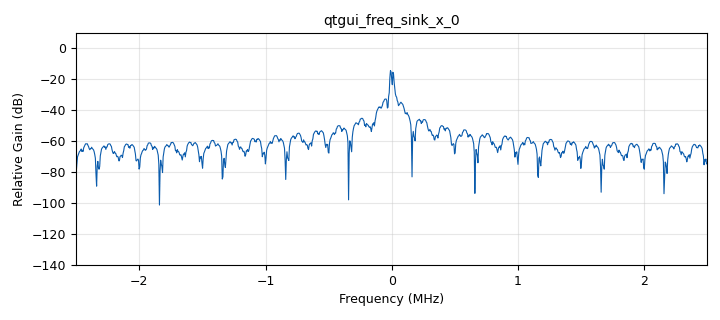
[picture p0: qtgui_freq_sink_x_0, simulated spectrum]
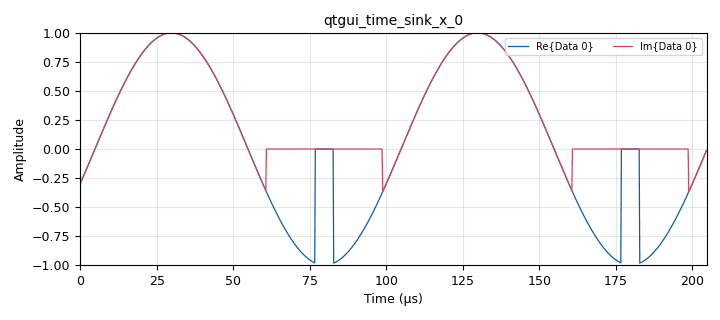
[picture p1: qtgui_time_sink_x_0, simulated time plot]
<?xml version='1.0' encoding='utf-8'?>
<?grc format='1' created='3.7.11'?>
<flow_graph>
<block>
<key>options</key>
<param><key>id</key><value>tx_digital_signal</value></param>
<param><key>generate_options</key><value>qt_gui</value></param>
</block>
<block>
<key>variable</key>
<param><key>id</key><value>baseband_freq</value></param>
<param><key>value</key><value>10000</value></param>
</block>
<block>
<key>variable</key>
<param><key>id</key><value>carrier_frequency</value></param>
<param><key>value</key><value>433e6</value></param>
</block>
<block>
<key>variable</key>
<param><key>id</key><value>channel_bw</value></param>
<param><key>value</key><value>2e3</value></param>
</block>
<block>
<key>variable</key>
<param><key>id</key><value>oldpacket</value></param>
<param><key>value</key><value>'11110011111110000111'</value></param>
</block>
<block>
<key>variable</key>
<param><key>id</key><value>oldrepeat</value></param>
<param><key>value</key><value>25</value></param>
</block>
<block>
<key>variable</key>
<param><key>id</key><value>packet_i</value></param>
<param><key>value</key><value>'11111111111111111111111111111111111100011111111111'</value></param>
</block>
<block>
<key>variable</key>
<param><key>id</key><value>packet_q</value></param>
<param><key>value</key><value>'11111111111111111111111111110000000000000000000111'</value></param>
</block>
<block>
<key>variable</key>
<param><key>id</key><value>repeat</value></param>
<param><key>value</key><value>10</value></param>
</block>
<block>
<key>variable</key>
<param><key>id</key><value>samp_rate</value></param>
<param><key>value</key><value>5e6</value></param>
</block>
<block>
<key>analog_sig_source_x</key>
<param><key>id</key><value>analog_sig_source_x_0</value></param>
<param><key>amp</key><value>1</value></param>
<param><key>freq</key><value>baseband_freq</value></param>
<param><key>offset</key><value>0</value></param>
<param><key>type</key><value>float</value></param>
<param><key>samp_rate</key><value>samp_rate</value></param>
<param><key>waveform</key><value>analog.GR_SIN_WAVE</value></param>
</block>
<block>
<key>blocks_complex_to_float</key>
<param><key>id</key><value>blocks_complex_to_float_0</value></param>
</block>
<block>
<key>blocks_float_to_complex</key>
<param><key>id</key><value>blocks_float_to_complex_0</value></param>
</block>
<block>
<key>blocks_multiply_const_xx</key>
<param><key>id</key><value>blocks_multiply_const_xx_0</value></param>
<param><key>const</key><value>100</value></param>
<param><key>type</key><value>float</value></param>
</block>
<block>
<key>blocks_multiply_const_xx</key>
<param><key>id</key><value>blocks_multiply_const_xx_0_0</value></param>
<param><key>const</key><value>100</value></param>
<param><key>type</key><value>float</value></param>
</block>
<block>
<key>blocks_multiply_xx</key>
<param><key>id</key><value>blocks_multiply_xx_0</value></param>
<param><key>type</key><value>float</value></param>
</block>
<block>
<key>blocks_multiply_xx</key>
<param><key>id</key><value>blocks_multiply_xx_0_0</value></param>
<param><key>type</key><value>float</value></param>
</block>
<block>
<key>blocks_null_sink</key>
<param><key>id</key><value>blocks_null_sink_0</value></param>
<param><key>bus_conns</key><value>[[0,],]</value></param>
<param><key>type</key><value>float</value></param>
</block>
<block>
<key>blocks_null_sink</key>
<param><key>id</key><value>blocks_null_sink_0_0</value></param>
<param><key>bus_conns</key><value>[[0,],]</value></param>
<param><key>type</key><value>float</value></param>
</block>
<block>
<key>blocks_vector_source_x</key>
<param><key>id</key><value>blocks_vector_source_x_0</value></param>
<param><key>type</key><value>float</value></param>
<param><key>repeat</key><value>True</value></param>
<param><key>vector</key><value>[int(x) for x in packet_i for i in range(repeat)]</value></param>
</block>
<block>
<key>blocks_vector_source_x</key>
<param><key>id</key><value>blocks_vector_source_x_0_0</value></param>
<param><key>type</key><value>float</value></param>
<param><key>repeat</key><value>True</value></param>
<param><key>vector</key><value>[int(x) for x in packet_q for i in range(repeat)]</value></param>
</block>
<block>
<key>measurer_measurer</key>
<param><key>id</key><value>measurer_measurer_0</value></param>
<param><key>pause</key><value>0</value></param>
</block>
<block>
<key>qmeasurer_qmeasurer</key>
<param><key>id</key><value>qmeasurer_qmeasurer_0</value></param>
<param><key>pause</key><value>0</value></param>
</block>
<block>
<key>qtgui_freq_sink_x</key>
<param><key>id</key><value>qtgui_freq_sink_x_0</value></param>
<param><key>bw</key><value>samp_rate</value></param>
<param><key>fc</key><value>0</value></param>
<param><key>fftsize</key><value>1024</value></param>
<param><key>showports</key><value>True</value></param>
<param><key>type</key><value>complex</value></param>
<param><key>wintype</key><value>firdes.WIN_BLACKMAN_hARRIS</value></param>
</block>
<block>
<key>qtgui_time_sink_x</key>
<param><key>id</key><value>qtgui_time_sink_x_0</value></param>
<param><key>color1</key><value>"blue"</value></param>
<param><key>label1</key><value></value></param>
<param><key>color2</key><value>"red"</value></param>
<param><key>label2</key><value></value></param>
<param><key>size</key><value>1024</value></param>
<param><key>srate</key><value>samp_rate</value></param>
<param><key>type</key><value>complex</value></param>
</block>
<block>
<key>uhd_usrp_sink</key>
<param><key>id</key><value>uhd_usrp_sink_0</value></param>
<param><key>ant0</key><value>TX/RX</value></param>
<param><key>bw0</key><value>channel_bw</value></param>
<param><key>center_freq0</key><value>carrier_frequency</value></param>
<param><key>norm_gain0</key><value>False</value></param>
<param><key>gain0</key><value>87</value></param>
<param><key>clock_rate</key><value>0.0</value></param>
<param><key>dev_args</key><value>""</value></param>
<param><key>type</key><value>fc32</value></param>
<param><key>samp_rate</key><value>samp_rate</value></param>
<param><key>hide_cmd_port</key><value>False</value></param>
<param><key>hide_lo_controls</key><value>True</value></param>
<param><key>sync</key><value></value></param>
<param><key>len_tag_name</key><value></value></param>
</block>
<block>
<key>uhd_usrp_source</key>
<param><key>id</key><value>uhd_usrp_source_0</value></param>
<param><key>ant0</key><value>RX2</value></param>
<param><key>bw0</key><value>channel_bw</value></param>
<param><key>center_freq0</key><value>carrier_frequency</value></param>
<param><key>dc_offs_enb0</key><value>""</value></param>
<param><key>iq_imbal_enb0</key><value>""</value></param>
<param><key>norm_gain0</key><value>False</value></param>
<param><key>gain0</key><value>10</value></param>
<param><key>clock_rate</key><value>0.0</value></param>
<param><key>dev_args</key><value>""</value></param>
<param><key>type</key><value>fc32</value></param>
<param><key>samp_rate</key><value>samp_rate</value></param>
<param><key>hide_cmd_port</key><value>False</value></param>
<param><key>hide_lo_controls</key><value>True</value></param>
<param><key>sync</key><value></value></param>
</block>
<connection><source_block_id>analog_sig_source_x_0</source_block_id><sink_block_id>blocks_multiply_xx_0</sink_block_id><source_key>0</source_key><sink_key>0</sink_key></connection>
<connection><source_block_id>analog_sig_source_x_0</source_block_id><sink_block_id>blocks_multiply_xx_0_0</sink_block_id><source_key>0</source_key><sink_key>0</sink_key></connection>
<connection><source_block_id>blocks_complex_to_float_0</source_block_id><sink_block_id>blocks_multiply_const_xx_0_0</sink_block_id><source_key>1</source_key><sink_key>0</sink_key></connection>
<connection><source_block_id>blocks_complex_to_float_0</source_block_id><sink_block_id>blocks_multiply_const_xx_0</sink_block_id><source_key>0</source_key><sink_key>0</sink_key></connection>
<connection><source_block_id>blocks_float_to_complex_0</source_block_id><sink_block_id>qtgui_freq_sink_x_0</sink_block_id><source_key>0</source_key><sink_key>0</sink_key></connection>
<connection><source_block_id>blocks_float_to_complex_0</source_block_id><sink_block_id>qtgui_time_sink_x_0</sink_block_id><source_key>0</source_key><sink_key>0</sink_key></connection>
<connection><source_block_id>blocks_float_to_complex_0</source_block_id><sink_block_id>uhd_usrp_sink_0</sink_block_id><source_key>0</source_key><sink_key>0</sink_key></connection>
<connection><source_block_id>blocks_multiply_const_xx_0</source_block_id><sink_block_id>measurer_measurer_0</sink_block_id><source_key>0</source_key><sink_key>0</sink_key></connection>
<connection><source_block_id>blocks_multiply_const_xx_0_0</source_block_id><sink_block_id>qmeasurer_qmeasurer_0</sink_block_id><source_key>0</source_key><sink_key>0</sink_key></connection>
<connection><source_block_id>blocks_multiply_xx_0</source_block_id><sink_block_id>blocks_float_to_complex_0</sink_block_id><source_key>0</source_key><sink_key>0</sink_key></connection>
<connection><source_block_id>blocks_multiply_xx_0_0</source_block_id><sink_block_id>blocks_float_to_complex_0</sink_block_id><source_key>0</source_key><sink_key>1</sink_key></connection>
<connection><source_block_id>blocks_vector_source_x_0</source_block_id><sink_block_id>blocks_multiply_xx_0</sink_block_id><source_key>0</source_key><sink_key>1</sink_key></connection>
<connection><source_block_id>blocks_vector_source_x_0_0</source_block_id><sink_block_id>blocks_multiply_xx_0_0</sink_block_id><source_key>0</source_key><sink_key>1</sink_key></connection>
<connection><source_block_id>measurer_measurer_0</source_block_id><sink_block_id>blocks_null_sink_0</sink_block_id><source_key>0</source_key><sink_key>0</sink_key></connection>
<connection><source_block_id>qmeasurer_qmeasurer_0</source_block_id><sink_block_id>blocks_null_sink_0_0</sink_block_id><source_key>0</source_key><sink_key>0</sink_key></connection>
<connection><source_block_id>uhd_usrp_source_0</source_block_id><sink_block_id>blocks_complex_to_float_0</sink_block_id><source_key>0</source_key><sink_key>0</sink_key></connection>
</flow_graph>
